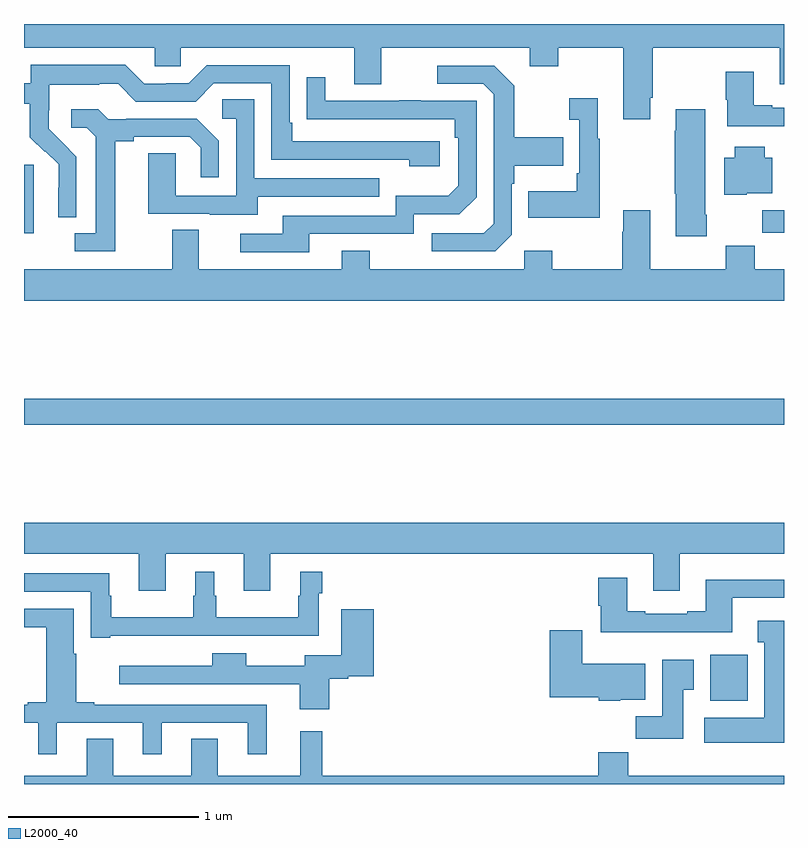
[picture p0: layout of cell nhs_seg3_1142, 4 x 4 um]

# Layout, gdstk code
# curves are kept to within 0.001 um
import gdstk
lib = gdstk.Library(unit=1e-6, precision=1e-09)
def R(c, l, rs):  # rectangles x0, y0, x1, y1
    for r in rs: c.add(gdstk.rectangle(r[:2], r[2:], *l))
def P(c, l, *ps):  # polygons
    for p in ps: c.add(gdstk.Polygon(p, *l))
L2000_40 = (2000, 40)

nhs_seg3_1142 = lib.new_cell('nhs_seg3_1142')
R(nhs_seg3_1142, L2000_40, [(174.611,670.838,174.808,671.08), (171,672.292,175,672.428), (171,673.298,171.052,673.659), (174.886,673.302,175,673.42)])
P(nhs_seg3_1142, L2000_40, [(174.295,674.011),(174.308,674.011),(174.308,674.276),(174.977,674.276),(174.977,674.082),(175,674.082),(175,674.4),(171,674.4),(171,674.276),(171.687,674.276),(171.687,674.178),(171.825,674.178),(171.825,674.276),(172.739,674.276),(172.739,674.082),(172.879,674.082),(172.879,674.276),(173.663,674.276),(173.663,674.177),(173.811,674.177),(173.811,674.276),(174.155,674.276),(174.155,673.899),(174.295,673.899)],
  [(171.276,673.702),(171.13,673.85),(171.13,673.947),(171.132,673.947),(171.132,674.081),(171.395,674.081),(171.395,674.085),(171.495,674.085),(171.588,673.992),(171.903,673.992),(171.999,674.088),(172.302,674.088),(172.302,673.686),(173.027,673.686),(173.027,673.652),(173.188,673.652),(173.188,673.782),(172.411,673.782),(172.411,673.879),(172.398,673.879),(172.398,674.184),(171.963,674.184),(171.867,674.088),(171.749,674.088),(171.749,674.085),(171.633,674.085),(171.533,674.185),(171.036,674.185),(171.036,674.088),(171,674.088),(171,673.98),(171.031,673.98),(171.031,673.805),(171.108,673.728),(171.111,673.731),(171.182,673.661),(171.182,673.538),(171.18,673.538),(171.18,673.384),(171.276,673.384)],
  [(173.568,673.29),(173.568,673.559),(173.581,673.559),(173.581,673.655),(173.837,673.655),(173.837,673.803),(173.581,673.803),(173.581,674.075),(173.475,674.181),(173.175,674.181),(173.175,674.085),(173.418,674.085),(173.472,674.031),(173.472,673.35),(173.421,673.299),(173.145,673.299),(173.145,673.203),(173.481,673.203)],
  [(175,673.959),(174.937,673.959),(174.937,673.972),(174.841,673.972),(174.841,674.149),(174.694,674.149),(174.694,674.001),(174.701,674.001),(174.701,673.863),(175,673.863)],
  [(172.501,673.296),(173.052,673.296),(173.052,673.398),(173.292,673.398),(173.382,673.488),(173.382,673.995),(173.087,673.995),(173.087,674),(172.975,674),(172.975,673.995),(172.585,673.995),(172.585,674.119),(172.489,674.119),(172.489,673.9),(173.266,673.899),(173.266,673.802),(173.286,673.802),(173.286,673.548),(173.233,673.495),(172.956,673.495),(172.956,673.392),(172.361,673.392),(172.361,673.296),(172.137,673.296),(172.137,673.2),(172.501,673.2)],
  [(174.031,673.795),(174.019,673.795),(174.019,674.008),(173.871,674.008),(173.871,673.895),(173.922,673.895),(173.922,673.615),(173.91,673.615),(173.91,673.519),(173.653,673.519),(173.653,673.379),(174.031,673.379)],
  [(172.231,673.491),(172.871,673.491),(172.871,673.587),(172.212,673.587),(172.212,674.003),(172.044,674.003),(172.044,673.902),(172.116,673.902),(172.116,673.497),(171.798,673.497),(171.798,673.721),(171.653,673.721),(171.653,673.401),(171.977,673.401),(171.977,673.397),(172.231,673.397)],
  [(171.481,673.784),(171.577,673.784),(171.577,673.806),(171.872,673.806),(171.929,673.749),(171.929,673.593),(172.026,673.593),(172.026,673.786),(171.91,673.902),(171.538,673.902),(171.538,673.899),(171.444,673.899),(171.392,673.951),(171.249,673.951),(171.249,673.854),(171.33,673.854),(171.377,673.807),(171.377,673.299),(171.267,673.299),(171.267,673.203),(171.481,673.203)],
  [(174.594,673.396),(174.586,673.396),(174.586,673.951),(174.431,673.951),(174.431,673.838),(174.424,673.838),(174.424,673.507),(174.431,673.507),(174.431,673.284),(174.594,673.284)],
  [(174.804,673.508),(174.937,673.508),(174.937,673.696),(174.898,673.696),(174.898,673.753),(174.74,673.753),(174.74,673.696),(174.686,673.696),(174.686,673.502),(174.804,673.502)],
  [(175,673.108),(174.845,673.108),(174.845,673.232),(174.694,673.232),(174.694,673.108),(174.295,673.108),(174.295,673.42),(174.155,673.42),(174.155,673.307),(174.148,673.307),(174.148,673.108),(173.781,673.108),(173.781,673.207),(173.634,673.207),(173.634,673.108),(172.821,673.108),(172.821,673.207),(172.673,673.207),(172.673,673.108),(171.919,673.108),(171.919,673.316),(171.779,673.316),(171.779,673.108),(171,673.108),(171,672.944),(175,672.944)],
  [(171.745,671.612),(172.157,671.612),(172.157,671.418),(172.297,671.418),(172.297,671.612),(174.311,671.612),(174.311,671.418),(174.451,671.418),(174.451,671.612),(175,671.612),(175,671.776),(171,671.776),(171,671.612),(171.605,671.612),(171.605,671.418),(171.745,671.418)],
  [(171.454,671.18),(171.896,671.18),(171.896,671.181),(172.258,671.181),(172.258,671.18),(172.551,671.18),(172.551,671.405),(172.571,671.405),(172.571,671.518),(172.454,671.518),(172.454,671.39),(172.443,671.39),(172.443,671.278),(172.012,671.278),(172.012,671.39),(172,671.39),(172,671.518),(171.902,671.518),(171.902,671.39),(171.891,671.39),(171.891,671.278),(171.46,671.278),(171.46,671.39),(171.448,671.39),(171.448,671.508),(171,671.508),(171,671.412),(171.351,671.412),(171.351,671.169),(171.454,671.169)],
  [(174.727,671.379),(175,671.379),(175,671.476),(174.587,671.476),(174.587,671.308),(174.491,671.308),(174.491,671.295),(174.271,671.295),(174.271,671.308),(174.175,671.308),(174.175,671.485),(174.023,671.485),(174.023,671.337),(174.035,671.337),(174.035,671.198),(174.727,671.198)],
  [(171.172,670.722),(171.626,670.722),(171.626,670.557),(171.724,670.557),(171.724,670.722),(172.178,670.722),(172.178,670.557),(172.277,670.557),(172.277,670.818),(171.37,670.818),(171.37,670.831),(171.274,670.831),(171.274,671.085),(171.262,671.085),(171.262,671.322),(171,671.322),(171,671.225),(171.116,671.225),(171.116,670.831),(171.02,670.831),(171.02,670.818),(171,670.818),(171,670.722),(171.074,670.722),(171.074,670.557),(171.172,670.557)],
  [(172.607,670.955),(172.707,670.955),(172.707,670.967),(172.841,670.967),(172.841,671.32),(172.67,671.32),(172.67,671.077),(172.478,671.077),(172.478,671.023),(172.17,671.023),(172.17,671.089),(171.992,671.089),(171.992,671.023),(171.501,671.023),(171.501,670.926),(172.451,670.926),(172.451,670.794),(172.607,670.794)],
  [(175,671.26),(174.863,671.26),(174.863,671.147),(174.896,671.147),(174.896,670.75),(174.579,670.75),(174.579,670.616),(175,670.616)],
  [(174.138,670.844),(174.271,670.844),(174.271,671.032),(173.938,671.032),(173.938,671.209),(173.768,671.209),(173.768,670.856),(174.024,670.856),(174.024,670.838),(174.138,670.838)],
  [(174.469,670.897),(174.526,670.897),(174.526,671.053),(174.359,671.053),(174.359,670.756),(174.22,670.756),(174.22,670.638),(174.469,670.638)],
  [(175,670.444),(174.179,670.444),(174.179,670.568),(174.023,670.568),(174.023,670.444),(172.571,670.444),(172.571,670.678),(172.454,670.678),(172.454,670.444),(172.021,670.444),(172.021,670.637),(171.881,670.637),(171.881,670.444),(171.469,670.444),(171.469,670.637),(171.329,670.637),(171.329,670.444),(171,670.444),(171,670.4),(175,670.4)])

lib.write_gds('nhs_seg3_1142.gds')
